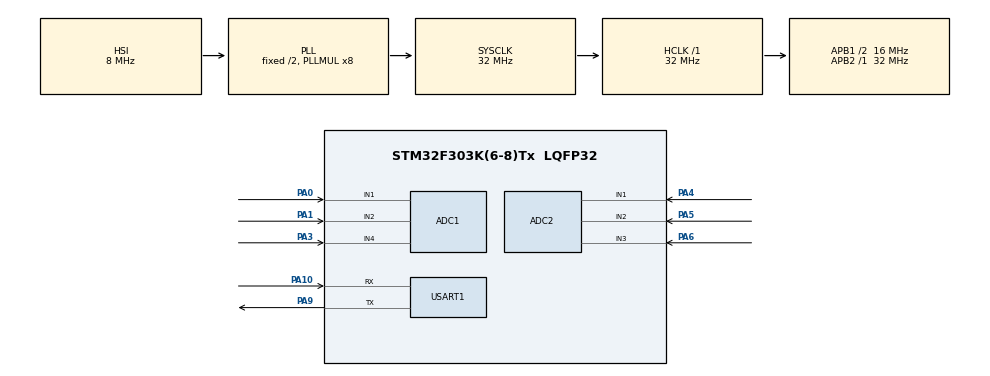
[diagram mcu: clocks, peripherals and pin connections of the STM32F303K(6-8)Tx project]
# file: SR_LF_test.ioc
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ADC1.Channel-18\#ChannelRegularConversion=ADC_CHANNEL_2
ADC1.Channel-19\#ChannelRegularConversion=ADC_CHANNEL_4
ADC1.ContinuousConvMode=DISABLE
ADC1.DMAContinuousRequests=ENABLE
ADC1.NbrOfConversion=3
ADC1.NbrOfConversionFlag=1
ADC1.Offset-18\#ChannelRegularConversion=0
ADC1.Offset-19\#ChannelRegularConversion=0
ADC1.OffsetNumber-15\#ChannelRegularConversion=ADC_OFFSET_NONE
ADC1.OffsetNumber-18\#ChannelRegularConversion=ADC_OFFSET_NONE
ADC1.OffsetNumber-19\#ChannelRegularConversion=ADC_OFFSET_NONE
ADC1.Rank-18\#ChannelRegularConversion=2
ADC1.Rank-19\#ChannelRegularConversion=3
ADC1.SamplingTime-15\#ChannelRegularConversion=ADC_SAMPLETIME_61CYCLES_5
ADC1.SamplingTime-18\#ChannelRegularConversion=ADC_SAMPLETIME_61CYCLES_5
ADC1.SamplingTime-19\#ChannelRegularConversion=ADC_SAMPLETIME_61CYCLES_5
ADC1.SamplingTimeOPAMP-18\#ChannelRegularConversion=ADC_SAMPLETIME_7CYCLES_5
ADC1.SamplingTimeOPAMP-19\#ChannelRegularConversion=ADC_SAMPLETIME_7CYCLES_5
ADC1.SubFamily=STM32F303x8
ADC1.master=1
ADC2.Channel-0\#ChannelRegularConversion=ADC_CHANNEL_1
ADC2.Channel-1\#ChannelRegularConversion=ADC_CHANNEL_2
ADC2.Channel-2\#ChannelRegularConversion=ADC_CHANNEL_3
ADC2.DMAContinuousRequests=ENABLE
ADC2.NbrOfConversion=3
ADC2.NbrOfConversionFlag=1
ADC2.Offset-0\#ChannelRegularConversion=0
ADC2.Offset-1\#ChannelRegularConversion=0
ADC2.Offset-2\#ChannelRegularConversion=0
ADC2.OffsetNumber-0\#ChannelRegularConversion=ADC_OFFSET_NONE
ADC2.OffsetNumber-1\#ChannelRegularConversion=ADC_OFFSET_NONE
ADC2.OffsetNumber-2\#ChannelRegularConversion=ADC_OFFSET_NONE
ADC2.Rank-0\#ChannelRegularConversion=1
ADC2.Rank-1\#ChannelRegularConversion=2
ADC2.Rank-2\#ChannelRegularConversion=3
ADC2.SamplingTime-0\#ChannelRegularConversion=ADC_SAMPLETIME_4CYCLES_5
ADC2.SamplingTime-1\#ChannelRegularConversion=ADC_SAMPLETIME_4CYCLES_5
ADC2.SamplingTime-2\#ChannelRegularConversion=ADC_SAMPLETIME_4CYCLES_5
ADC2.SamplingTimeOPAMP-1\#ChannelRegularConversion=ADC_SAMPLETIME_7CYCLES_5
ADC2.SamplingTimeOPAMP-2\#ChannelRegularConversion=ADC_SAMPLETIME_7CYCLES_5
ADC2.SubFamily=STM32F303x8
Dma.ADC1.0.Direction=DMA_PERIPH_TO_MEMORY
Dma.ADC1.0.Instance=DMA1_Channel1
Dma.ADC1.0.MemDataAlignment=DMA_MDATAALIGN_BYTE
Dma.ADC1.0.MemInc=DMA_MINC_ENABLE
Dma.ADC1.0.Mode=DMA_CIRCULAR
Dma.ADC1.0.PeriphDataAlignment=DMA_PDATAALIGN_BYTE
Dma.ADC1.0.PeriphInc=DMA_PINC_DISABLE
Dma.ADC1.0.Priority=DMA_PRIORITY_LOW
Dma.ADC2.1.Direction=DMA_PERIPH_TO_MEMORY
Dma.ADC2.1.Instance=DMA1_Channel2
Dma.ADC2.1.MemDataAlignment=DMA_MDATAALIGN_BYTE
Dma.ADC2.1.MemInc=DMA_MINC_ENABLE
Dma.ADC2.1.Mode=DMA_CIRCULAR
Dma.ADC2.1.PeriphDataAlignment=DMA_PDATAALIGN_BYTE
Dma.ADC2.1.PeriphInc=DMA_PINC_DISABLE
Dma.ADC2.1.Priority=DMA_PRIORITY_LOW
Dma.Request0=ADC1
Dma.Request1=ADC2
Mcu.Family=STM32F3
Mcu.Name=STM32F303K(6-8)Tx
Mcu.Package=LQFP32
NVIC.ADC1_2_IRQn=true\:0\:0\:false\:false\:true\:true\:true
NVIC.DMA1_Channel1_IRQn=true\:0\:0\:false\:false\:true\:false\:true
NVIC.DMA1_Channel2_IRQn=true\:0\:0\:false\:false\:true\:false\:true
NVIC.PriorityGroup=NVIC_PRIORITYGROUP_4
NVIC.USART1_IRQn=true\:0\:0\:false\:false\:true\:true\:true
PA0.Mode=IN1-Single-Ended
PA0.Signal=ADC1_IN1
PA1.Mode=IN2-Single-Ended
PA1.Signal=ADC1_IN2
PA10.Mode=Asynchronous
PA10.Signal=USART1_RX
PA13.Mode=Serial_Wire
PA13.Signal=SYS_JTMS-SWDIO
PA14.Mode=Serial_Wire
PA14.Signal=SYS_JTCK-SWCLK
PA15.GPIO_ModeDefaultPP=GPIO_MODE_AF_PP
PA15.GPIO_PuPd=GPIO_NOPULL
PA15.GPIO_Speed=GPIO_SPEED_FREQ_HIGH
PA15.Signal=USART2_RX
PA3.Mode=IN4-Single-Ended
PA3.Signal=ADC1_IN4
PA4.Mode=IN1-Single-Ended
PA4.Signal=ADC2_IN1
PA5.Mode=IN2-Single-Ended
PA5.Signal=ADC2_IN2
PA6.Mode=IN3-Single-Ended
PA6.Signal=ADC2_IN3
PA9.Mode=Asynchronous
PA9.Signal=USART1_TX
PF0\ /\ OSC_IN.Mode=HSE-External-Clock-Source
PF0\ /\ OSC_IN.Signal=RCC_OSC_IN
ProjectManager.HeapSize=0x200
ProjectManager.StackSize=0x400
ProjectManager.TargetToolchain=STM32CubeIDE
RCC.AHBFreq_Value=32000000
RCC.APB1CLKDivider=RCC_HCLK_DIV2
RCC.APB1Freq_Value=16000000
RCC.APB1TimFreq_Value=32000000
RCC.APB2Freq_Value=32000000
RCC.APB2TimFreq_Value=32000000
RCC.CortexFreq_Value=32000000
RCC.HCLKFreq_Value=32000000
RCC.HSE_VALUE=8000000
RCC.HSI_VALUE=8000000
RCC.PLLMUL=RCC_PLL_MUL8
RCC.SYSCLKFreq_VALUE=32000000
RCC.SYSCLKSourceVirtual=RCC_SYSCLKSOURCE_PLLCLK
USART1.VirtualMode-Asynchronous=VM_ASYNC
board=NUCLEO-F303K8

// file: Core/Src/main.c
/* USER CODE BEGIN Header */
/**
  ******************************************************************************
  * @file           : main.c
  * @brief          : Main program body
  ******************************************************************************
  * @attention
  *
  * <h2><center>&copy; Copyright (c) 2021 STMicroelectronics.
  * All rights reserved.</center></h2>
  *
  * This software component is licensed by ST under BSD 3-Clause license,
  * the "License"; You may not use this file except in compliance with the
  * License. You may obtain a copy of the License at:
  *                        opensource.org/licenses/BSD-3-Clause
  *
  ******************************************************************************
  */
/* USER CODE END Header */
#include "main.h"
#include "adc.h"
#include "dma.h"
#include "usart.h"
#include "gpio.h"

/* USER CODE BEGIN Includes */
#include <stdio.h>
/* USER CODE END Includes */

void SystemClock_Config(void);

/* USER CODE BEGIN 0 */
volatile uint16_t czuj1;
volatile uint16_t czuj2;
volatile uint16_t czuj3;
volatile uint16_t czuj4;
volatile uint16_t czuj5;
volatile uint16_t czuj6;

volatile uint8_t adc3[3];
volatile uint8_t adc4[3];

void HAL_ADC_ConvCpltCallback(ADC_HandleTypeDef *hadc) {
	if(hadc == &hadc1) {
		czuj1 = HAL_ADC_GetValue(hadc);
		czuj2 = HAL_ADC_GetValue(hadc);

	}
}

int _write(int file, char *ptr, int len){
	  HAL_UART_Transmit( &huart1, ptr, len,50 );
	  return len;
}

/* USER CODE END 0 */

int main(void)
{

  /* MCU Configuration--------------------------------------------------------*/

  /* Reset of all peripherals, Initializes the Flash interface and the Systick. */
  HAL_Init();

  /* Configure the system clock */
  SystemClock_Config();

  /* Initialize all configured peripherals */
  MX_GPIO_Init();
  MX_DMA_Init();
  MX_ADC1_Init();
  MX_ADC2_Init();
  MX_USART1_UART_Init();
  /* USER CODE BEGIN 2 */

  //HAL_ADCEx_Calibration_Start(&hadc1, ADC_SINGLE_ENDED);

  HAL_ADC_Start_IT(&hadc1);
  HAL_ADC_Start_IT(&hadc2);
  HAL_ADC_Start(&hadc1);
  HAL_ADC_Start_DMA(&hadc1, adc3, 3);
  HAL_ADC_Start_DMA(&hadc2, adc4, 3);
  /* USER CODE END 2 */

  /* Infinite loop */
  /* USER CODE BEGIN WHILE */
  while (1)
  {

	/*  //HAL_ADC_Start(&hadc1);
	  czuj1 = HAL_ADC_GetValue(&hadc1);
	  czuj2 = HAL_ADC_GetValue(&hadc1);
	  czuj3 = HAL_ADC_GetValue(&hadc1);
	  //HAL_ADC_PollForConversion(&hadc1, 10);
	  //HAL_ADC_Stop(&hadc1);

	  printf("Czuj1 %d\r\n" , czuj1);
	  printf("Czuj2 %d\r\n" , czuj2);
	  printf("Czuj3 %d\r\n" , czuj3);
	  printf("Czuj4 %d\r\n" , czuj4);
	  printf("Czuj5 %d\r\n" , czuj5);
	  printf("Czuj6 %d\r\n\n" , czuj6);
*/

	  printf("Czuj1 %d\r\n" , adc3[0]);
	  printf("Czuj2 %d\r\n" , adc3[1]);
	  printf("Czuj3 %d\r\n" , adc3[2]);
	  printf("Czuj4 %d\r\n" , adc4[0]);
	  printf("Czuj5 %d\r\n" , adc4[1]);
	  printf("Czuj6 %d\r\n\n" , adc4[2]);

	  //HAL_ADC_PollForConversion(&hadc1, 10);
	  //HAL_ADC_Start_IT(&hadc1);
	  //HAL_ADC_Start(&hadc1);
	  HAL_ADC_Start_DMA(&hadc1, adc3, 3);
	  HAL_ADC_Start_DMA(&hadc2, adc4, 3);

	  HAL_Delay(400);

    /* USER CODE END WHILE */

  }
}

void SystemClock_Config(void)
{
  RCC_OscInitTypeDef RCC_OscInitStruct = {0};
  RCC_ClkInitTypeDef RCC_ClkInitStruct = {0};
  RCC_PeriphCLKInitTypeDef PeriphClkInit = {0};

  /** Initializes the RCC Oscillators according to the specified parameters
  * in the RCC_OscInitTypeDef structure.
  */
  RCC_OscInitStruct.OscillatorType = RCC_OSCILLATORTYPE_HSI;
  RCC_OscInitStruct.HSIState = RCC_HSI_ON;
  RCC_OscInitStruct.HSICalibrationValue = RCC_HSICALIBRATION_DEFAULT;
  RCC_OscInitStruct.PLL.PLLState = RCC_PLL_ON;
  RCC_OscInitStruct.PLL.PLLSource = RCC_PLLSOURCE_HSI;
  RCC_OscInitStruct.PLL.PLLMUL = RCC_PLL_MUL8;
  if (HAL_RCC_OscConfig(&RCC_OscInitStruct) != HAL_OK)
  {
    Error_Handler();
  }
  /** Initializes the CPU, AHB and APB buses clocks
  */
  RCC_ClkInitStruct.ClockType = RCC_CLOCKTYPE_HCLK|RCC_CLOCKTYPE_SYSCLK
                              |RCC_CLOCKTYPE_PCLK1|RCC_CLOCKTYPE_PCLK2;
  RCC_ClkInitStruct.SYSCLKSource = RCC_SYSCLKSOURCE_PLLCLK;
  RCC_ClkInitStruct.AHBCLKDivider = RCC_SYSCLK_DIV1;
  RCC_ClkInitStruct.APB1CLKDivider = RCC_HCLK_DIV2;
  RCC_ClkInitStruct.APB2CLKDivider = RCC_HCLK_DIV1;

  if (HAL_RCC_ClockConfig(&RCC_ClkInitStruct, FLASH_LATENCY_1) != HAL_OK)
  {
    Error_Handler();
  }
  PeriphClkInit.PeriphClockSelection = RCC_PERIPHCLK_USART1|RCC_PERIPHCLK_ADC12;
  PeriphClkInit.Usart1ClockSelection = RCC_USART1CLKSOURCE_PCLK1;
  PeriphClkInit.Adc12ClockSelection = RCC_ADC12PLLCLK_DIV1;
  if (HAL_RCCEx_PeriphCLKConfig(&PeriphClkInit) != HAL_OK)
  {
    Error_Handler();
  }
}

void Error_Handler(void)
{
}

/************************ (C) COPYRIGHT STMicroelectronics *****END OF FILE****/
